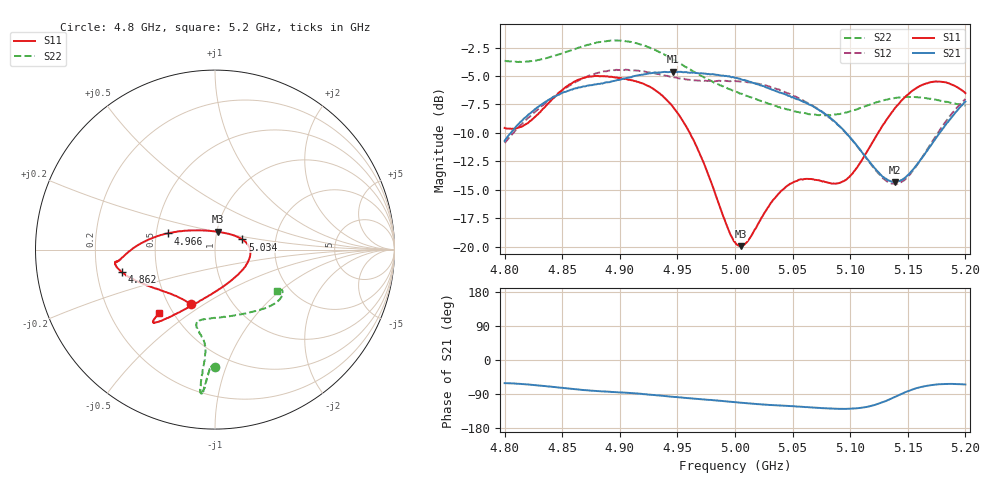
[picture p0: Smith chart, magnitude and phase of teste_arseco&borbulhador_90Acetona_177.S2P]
! Network Analyzer HP8722D
! Hewlett-Packard
! Data name: Linha & Wilkinson
! Saver's name: Rodrigo Anjos
! Comments: Teste da utilização de aquisição
! continua pelo VNA HP8722D
! Time and date: 17/4/2025 12:31
!  Frequency  S11  S21  S12  S22
# HZ  S  MA R 50
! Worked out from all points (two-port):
!   401 points, 4.8 GHz to 5.2 GHz, reference 50 ohm
!   highest |S21| = -4.63 dB at 4.946 GHz (marker M1); lowest = -14.3 dB at 5.139 GHz (marker M2)
!   |S21| within 3 dB of the highest: 4.83 GHz to 5.067 GHz (236.8 MHz wide, 4.79 % of centre); 5.196454 GHz to end of sweep
!   lowest |S11| = -20.0 dB at 5.005 GHz (marker M3), VSWR 1.22, Z = 50.5 + j10.1 ohm
!   |S11| at or under -10 dB: 4.961 GHz to 5.124 GHz (163.4 MHz wide, 3.24 % of centre)
!   |S22| runs from -8.5 to -1.9 dB; largest |S21 - S12| = 0.88
!   S11 on the Smith chart (normalised r, x): 4.8 GHz: 0.64, -0.44; 4.862 GHz: 0.31, -0.11; 4.966 GHz: 0.57, +0.11; 5.034 GHz: 1.35, +0.16; 5.2 GHz: 0.42, -0.38
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4.8e9  0.3326 -114.0  0.2916 -61.1  0.2858 -175.3  0.6566 -89.9
4.819e9  0.3467 -134.1  0.3731 -64.3  0.3623 -174.0  0.6509 -91.6
4.862e9  0.5353 -166.6  0.4974 -77.4  0.5306 -177.1  0.7426 -93.9
4.867e9  0.5481 -168.5  0.5038 -79.0  0.5457 -178.0  0.7574 -94.1
4.899e9  0.5511 -173.2  0.5399 -85.5  0.5972 175.2  0.8042 -95.6
4.934e9  0.4739 -179.2  0.583 -93.8  0.5732 171.5  0.7172 -96.0
4.946e9  0.4122 175.0  0.5871 -97.2  0.5578 171.9  0.666 -95.8
4.966e9  0.2794 161.2  0.5797 -102.2  0.5382 173.6  0.5806 -95.4
5e9  0.1046 98.9  0.5521 -111.3  0.5343 176.0  0.4805 -99.6
5.005e9  0.1005 81.5  0.5451 -112.6  0.5319 175.9  0.4705 -100.7
5.012e9  0.1075 59.8  0.5314 -114.4  0.5275 175.8  0.4562 -102.2
5.034e9  0.1621 20.4  0.4859 -119.5  0.4973 174.6  0.4167 -103.8
5.05e9  0.191 4.3  0.4548 -122.2  0.4627 173.9  0.3955 -99.8
5.067e9  0.1979 -13.9  0.4162 -125.3  0.4181 173.4  0.3804 -90.7
5.086e9  0.1895 -44.1  0.3565 -128.7  0.3551 173.4  0.3804 -76.5
5.097e9  0.1977 -66.7  0.3135 -128.9  0.3128 174.7  0.3892 -67.4
5.134e9  0.3765 -117.2  0.1948 -104.2  0.1909 -157.0  0.4459 -43.2
5.139e9  0.407 -120.2  0.1923 -97.2  0.1891 -149.1  0.4503 -41.0
5.151e9  0.4704 -125.3  0.2084 -81.4  0.2058 -130.8  0.455 -36.6
5.17e9  0.5287 -129.6  0.2782 -66.4  0.2832 -112.5  0.4465 -32.2
5.184e9  0.5253 -130.9  0.3498 -63.2  0.3604 -107.4  0.4328 -31.2
5.2e9  0.4727 -131.3  0.4341 -64.6  0.4461 -106.7  0.4165 -33.7
